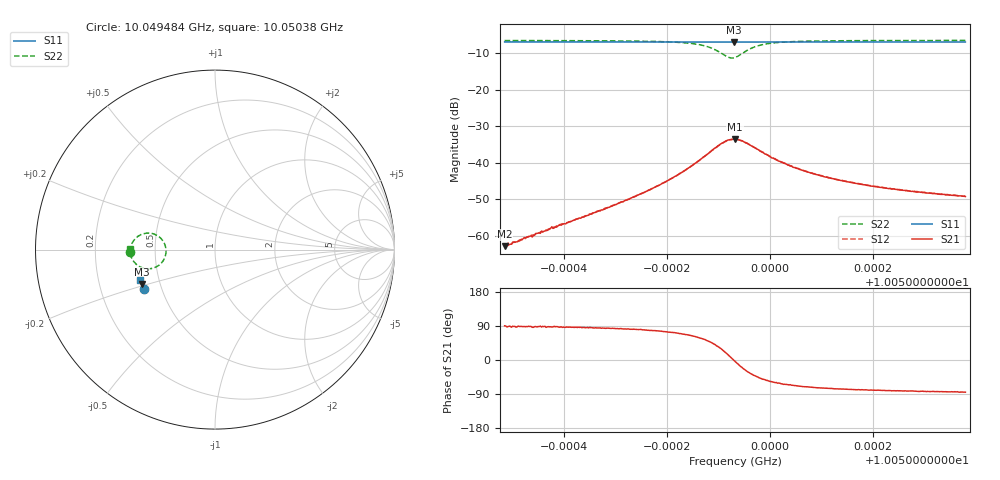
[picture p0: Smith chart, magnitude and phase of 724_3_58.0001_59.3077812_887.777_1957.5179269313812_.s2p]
#  HZ  S  RI  R  50.00
! Rohde & Schwarz Vector Network Analyzer
! Rohde-Schwarz,ZNB20-2Port,1311601062101988,3.16
! Created: UTC 3/21/2024, 1:22:49 AM
! freq[Hz]  re:S11  im:S11  re:S21  im:S21  re:S12  im:S12  re:S22  im:S22
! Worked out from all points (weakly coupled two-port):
!   401 points, 10.049484 GHz to 10.05038 GHz, reference 50 ohm
!   highest |S21| = -33.55 dB at 10.049932 GHz (marker M1); lowest = -62.9 dB at 10.049484 GHz (marker M2)
!   lowest |S11| = -6.9 dB at 10.04993 GHz (marker M3), VSWR 2.64, Z = 19.7 - j9.59 ohm
!   |S11| at or under -10 dB: nowhere
!   |S22| runs from -11.3 to -6.5 dB; largest |S21 - S12| = 0.0016
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1.00494843e10  -0.3966 -0.2205  -3.1e-06 0.000715  -2.25e-05 0.000721  -0.4738 -0.0119
1.00496343e10  -0.4012 -0.2113  0.000148 0.00177  1.23e-05 0.00178  -0.4713 0.00793
1.00497239e10  -0.4038 -0.206  0.000429 0.00308  0.000269 0.00312  -0.4661 0.0258
1.00497844e10  -0.4054 -0.2021  0.00113 0.00474  0.000866 0.00483  -0.4568 0.0451
1.00498202e10  -0.4064 -0.1998  0.00218 0.0064  0.00185 0.00646  -0.4439 0.0613
1.00498515e10  -0.407 -0.1978  0.00427 0.0084  0.00379 0.00862  -0.4207 0.0793
1.00498717e10  -0.4074 -0.1964  0.00697 0.00984  0.00637 0.0101  -0.3931 0.0898
1.00498896e10  -0.4075 -0.1951  0.0111 0.0103  0.0103 0.011  -0.3542 0.0903
1.00499031e10  -0.4073 -0.1943  0.0152 0.00934  0.0145 0.0102  -0.3165 0.0751
1.00499143e10  -0.4073 -0.1938  0.0187 0.00657  0.018 0.00753  -0.2873 0.0445
1.00499232e10  -0.4073 -0.1936  0.0206 0.00287  0.0201 0.00432  -0.274 0.00883
1.00499299e10  -0.4071 -0.1934  0.021 -0.000289  0.021 0.00133  -0.2736 -0.0211
1.00499322e10  -0.4073 -0.1934  0.021 -0.00132  0.0209 0.000151  -0.2754 -0.0307
1.00499434e10  -0.4077 -0.1934  0.0192 -0.00604  0.0197 -0.00453  -0.297 -0.0727
1.00499546e10  -0.4081 -0.1931  0.0163 -0.00903  0.0171 -0.00768  -0.3295 -0.0973
1.00499702e10  -0.409 -0.1925  0.0121 -0.0105  0.0129 -0.0097  -0.3728 -0.1069
1.00499859e10  -0.4098 -0.1916  0.00877 -0.0107  0.00957 -0.0101  -0.4041 -0.1019
1.00500352e10  -0.4117 -0.1886  0.00389 -0.00846  0.0044 -0.00815  -0.4494 -0.0708
1.00500822e10  -0.4131 -0.1856  0.00219 -0.0068  0.00263 -0.00669  -0.4631 -0.0491
1.00501471e10  -0.4147 -0.1815  0.00124 -0.00538  0.00157 -0.00535  -0.4703 -0.03
1.00502322e10  -0.4169 -0.1761  0.000718 -0.00434  0.000958 -0.00436  -0.4736 -0.0136
1.005038e10  -0.4203 -0.1671  0.000306 -0.00341  0.000529 -0.00343  -0.4751 0.00546
